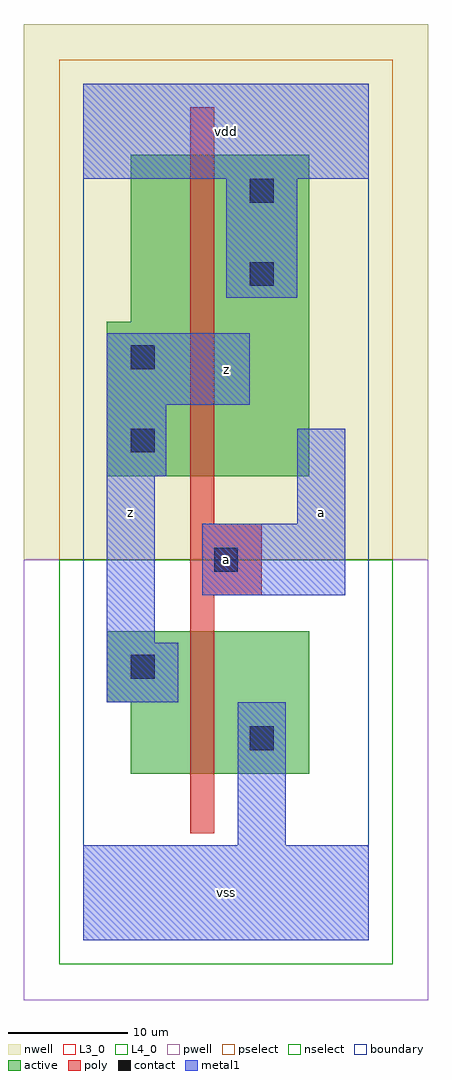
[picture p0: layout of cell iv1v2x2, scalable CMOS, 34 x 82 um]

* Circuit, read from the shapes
.subckt iv1v2x2 a vdd vss z
M1 vss a z VSUBS nfet w=12u l=2u
M2 vdd a z n1 pfet w=27u l=2u
.ends

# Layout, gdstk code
import gdstk
lib = gdstk.Library(unit=1e-6, precision=1e-09)
def R(c, l, rs):  # rectangles x0, y0, x1, y1
    for r in rs: c.add(gdstk.rectangle(r[:2], r[2:], *l))
L3_0 = (3, 0)
L4_0 = (4, 0)
contact = (25, 0)
pwell = (41, 0)
nwell = (42, 0)
active = (43, 0)
pselect = (44, 0)
nselect = (45, 0)
poly = (46, 0)
metal1 = (49, 0)
boundary = (63, 0)

iv1v2x2 = lib.new_cell('iv1v2x2')
R(iv1v2x2, L3_0, [(4,14,19,20), (2,20,19,26)])
R(iv1v2x2, L4_0, [(2,39,19,52), (4,52,19,66)])
R(iv1v2x2, contact, [(14,16,16,18), (4,22,6,24), (11,31,13,33), (4,41,6,43), (4,48,6,50), (14,55,16,57), (14,62,16,64)])
R(iv1v2x2, pwell, [(-5,-5,29,32)])
R(iv1v2x2, nwell, [(-5,32,29,77)])
R(iv1v2x2, active, [(4,14,19,20), (2,20,19,26), (2,39,19,52), (4,52,19,66)])
R(iv1v2x2, pselect, [(-2,32,26,74)])
R(iv1v2x2, nselect, [(-2,-2,26,32)])
R(iv1v2x2, poly, [(9,9,11,29), (9,29,15,35), (9,35,11,70)])
R(iv1v2x2, metal1, [(0,0,24,8), (13,8,17,20), (2,20,8,25), (2,25,6,39), (10,29,22,35), (18,35,22,43), (2,39,7,45), (2,45,14,51), (12,54,18,64), (0,64,24,72)])
R(iv1v2x2, boundary, [(0,0,24,72)])
iv1v2x2.add(gdstk.Label('z', (4,36), layer=49, texttype=0))
iv1v2x2.add(gdstk.Label('vss', (12,4), layer=49, texttype=0))
iv1v2x2.add(gdstk.Label('a', (12,32), layer=49, texttype=0))
iv1v2x2.add(gdstk.Label('z', (12,48), layer=49, texttype=0))
iv1v2x2.add(gdstk.Label('vdd', (12,68), layer=49, texttype=0))
iv1v2x2.add(gdstk.Label('a', (20,36), layer=49, texttype=0))

lib.write_gds('iv1v2x2.gds')
